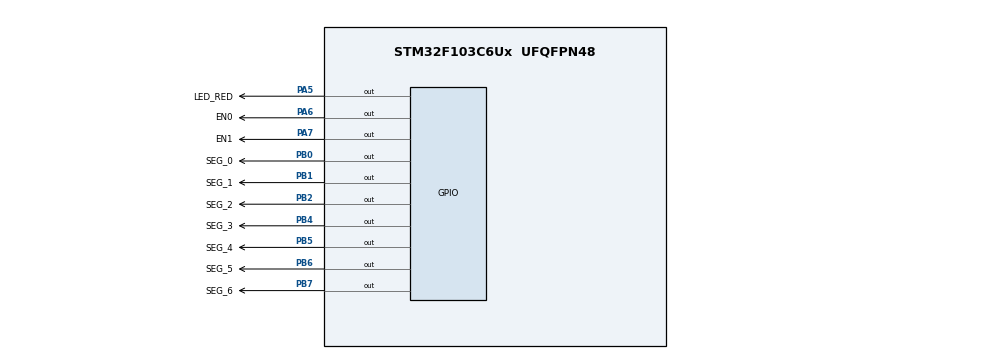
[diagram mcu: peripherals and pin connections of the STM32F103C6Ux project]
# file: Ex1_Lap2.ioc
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Mcu.Family=STM32F1
Mcu.Name=STM32F103C6Ux
Mcu.Package=UFQFPN48
NVIC.PriorityGroup=NVIC_PRIORITYGROUP_4
NVIC.TIM2_IRQn=true\:0\:0\:false\:false\:true\:true\:true
PA5.GPIO_Label=LED_RED
PA5.Signal=GPIO_Output
PA6.GPIO_Label=EN0
PA6.Signal=GPIO_Output
PA7.GPIO_Label=EN1
PA7.Signal=GPIO_Output
PB0.GPIO_Label=SEG_0
PB0.Signal=GPIO_Output
PB1.GPIO_Label=SEG_1
PB1.Signal=GPIO_Output
PB2.GPIO_Label=SEG_2
PB2.Signal=GPIO_Output
PB4.GPIO_Label=SEG_3
PB4.Signal=GPIO_Output
PB5.GPIO_Label=SEG_4
PB5.Signal=GPIO_Output
PB6.GPIO_Label=SEG_5
PB6.Signal=GPIO_Output
PB7.GPIO_Label=SEG_6
PB7.Signal=GPIO_Output
ProjectManager.HeapSize=0x200
ProjectManager.StackSize=0x400
ProjectManager.TargetToolchain=STM32CubeIDE
RCC.APB1Freq_Value=8000000
RCC.APB2Freq_Value=8000000
TIM2.Period=9
TIM2.Prescaler=7999
VP_SYS_VS_ND.Mode=No_Debug
VP_TIM2_VS_ClockSourceINT.Mode=Internal
board=custom

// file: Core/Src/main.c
/* USER CODE BEGIN Header */
/**
  ******************************************************************************
  * @file           : main.c
  * @brief          : Main program body
  ******************************************************************************
  * @attention
  *
  * <h2><center>&copy; Copyright (c) 2022 STMicroelectronics.
  * All rights reserved.</center></h2>
  *
  * This software component is licensed by ST under BSD 3-Clause license,
  * the "License"; You may not use this file except in compliance with the
  * License. You may obtain a copy of the License at:
  *                        opensource.org/licenses/BSD-3-Clause
  *
  ******************************************************************************
  */
/* USER CODE END Header */
#include "main.h"
#include "display7SEG.h"

TIM_HandleTypeDef htim2;

void SystemClock_Config(void);
static void MX_GPIO_Init(void);
static void MX_TIM2_Init(void);

int main(void)
{

  /* MCU Configuration--------------------------------------------------------*/

  /* Reset of all peripherals, Initializes the Flash interface and the Systick. */
  HAL_Init();

  /* Configure the system clock */
  SystemClock_Config();

  /* Initialize all configured peripherals */
  MX_GPIO_Init();
  MX_TIM2_Init();
  HAL_TIM_Base_Start_IT (& htim2 ) ;
  /* USER CODE END 2 */
  /* Infinite loop */
  while (1)
  {

  }
}

void SystemClock_Config(void)
{
  RCC_OscInitTypeDef RCC_OscInitStruct = {0};
  RCC_ClkInitTypeDef RCC_ClkInitStruct = {0};

  /** Initializes the RCC Oscillators according to the specified parameters
  * in the RCC_OscInitTypeDef structure.
  */
  RCC_OscInitStruct.OscillatorType = RCC_OSCILLATORTYPE_HSI;
  RCC_OscInitStruct.HSIState = RCC_HSI_ON;
  RCC_OscInitStruct.HSICalibrationValue = RCC_HSICALIBRATION_DEFAULT;
  RCC_OscInitStruct.PLL.PLLState = RCC_PLL_NONE;
  if (HAL_RCC_OscConfig(&RCC_OscInitStruct) != HAL_OK)
  {
    Error_Handler();
  }
  /** Initializes the CPU, AHB and APB buses clocks
  */
  RCC_ClkInitStruct.ClockType = RCC_CLOCKTYPE_HCLK|RCC_CLOCKTYPE_SYSCLK
                              |RCC_CLOCKTYPE_PCLK1|RCC_CLOCKTYPE_PCLK2;
  RCC_ClkInitStruct.SYSCLKSource = RCC_SYSCLKSOURCE_HSI;
  RCC_ClkInitStruct.AHBCLKDivider = RCC_SYSCLK_DIV1;
  RCC_ClkInitStruct.APB1CLKDivider = RCC_HCLK_DIV1;
  RCC_ClkInitStruct.APB2CLKDivider = RCC_HCLK_DIV1;

  if (HAL_RCC_ClockConfig(&RCC_ClkInitStruct, FLASH_LATENCY_0) != HAL_OK)
  {
    Error_Handler();
  }
}

static void MX_TIM2_Init(void)
{

  TIM_ClockConfigTypeDef sClockSourceConfig = {0};
  TIM_MasterConfigTypeDef sMasterConfig = {0};

  htim2.Instance = TIM2;
  htim2.Init.Prescaler = 7999;
  htim2.Init.CounterMode = TIM_COUNTERMODE_UP;
  htim2.Init.Period = 9;
  htim2.Init.ClockDivision = TIM_CLOCKDIVISION_DIV1;
  htim2.Init.AutoReloadPreload = TIM_AUTORELOAD_PRELOAD_DISABLE;
  if (HAL_TIM_Base_Init(&htim2) != HAL_OK)
  {
    Error_Handler();
  }
  sClockSourceConfig.ClockSource = TIM_CLOCKSOURCE_INTERNAL;
  if (HAL_TIM_ConfigClockSource(&htim2, &sClockSourceConfig) != HAL_OK)
  {
    Error_Handler();
  }
  sMasterConfig.MasterOutputTrigger = TIM_TRGO_RESET;
  sMasterConfig.MasterSlaveMode = TIM_MASTERSLAVEMODE_DISABLE;
  if (HAL_TIMEx_MasterConfigSynchronization(&htim2, &sMasterConfig) != HAL_OK)
  {
    Error_Handler();
  }

}

static void MX_GPIO_Init(void)
{
  GPIO_InitTypeDef GPIO_InitStruct = {0};

  /* GPIO Ports Clock Enable */
  __HAL_RCC_GPIOA_CLK_ENABLE();
  __HAL_RCC_GPIOB_CLK_ENABLE();

  /*Configure GPIO pin Output Level */
  HAL_GPIO_WritePin(LED_RED_GPIO_Port, LED_RED_Pin, GPIO_PIN_RESET);

  /*Configure GPIO pin Output Level */
  HAL_GPIO_WritePin(GPIOB, SEG_0_Pin|SEG_1_Pin|SEG_2_Pin|SEG_3_Pin
                          |SEG_4_Pin|SEG_5_Pin|SEG_6_Pin, GPIO_PIN_RESET);

  /*Configure GPIO pin : LED_RED_Pin */
  GPIO_InitStruct.Pin = LED_RED_Pin;
  GPIO_InitStruct.Mode = GPIO_MODE_OUTPUT_PP;
  GPIO_InitStruct.Pull = GPIO_NOPULL;
  GPIO_InitStruct.Speed = GPIO_SPEED_FREQ_LOW;
  HAL_GPIO_Init(LED_RED_GPIO_Port, &GPIO_InitStruct);

  /*Configure GPIO pins : SEG_0_Pin SEG_1_Pin SEG_2_Pin SEG_3_Pin
                           SEG_4_Pin SEG_5_Pin SEG_6_Pin */
  GPIO_InitStruct.Pin = SEG_0_Pin|SEG_1_Pin|SEG_2_Pin|SEG_3_Pin
                          |SEG_4_Pin|SEG_5_Pin|SEG_6_Pin;
  GPIO_InitStruct.Mode = GPIO_MODE_OUTPUT_PP;
  GPIO_InitStruct.Pull = GPIO_NOPULL;
  GPIO_InitStruct.Speed = GPIO_SPEED_FREQ_LOW;
  HAL_GPIO_Init(GPIOB, &GPIO_InitStruct);

}

/* USER CODE BEGIN 4 */
int led_status = 0;
int count = 50 ;
int num_led = 0;
void HAL_TIM_PeriodElapsedCallback (TIM_HandleTypeDef *htim){
   //EX1.

	count --;
  if(count <=0){
	  count = 50;
	  // den 1sang 2tat
	  if(led_status %2 == 0){
		  HAL_GPIO_WritePin(EN0_GPIO_Port, EN0_Pin, RESET);
		  HAL_GPIO_WritePin(EN1_GPIO_Port, EN1_Pin, SET);
		  HAL_GPIO_WritePin(LED_RED_GPIO_Port, LED_RED_Pin, 1);
		  display7SEG(num_led);
	  }
  	  // den 2sang tat
	  else {
		 HAL_GPIO_WritePin(EN0_GPIO_Port, EN0_Pin, SET);
		 HAL_GPIO_WritePin(EN1_GPIO_Port, EN1_Pin, RESET);
		 HAL_GPIO_WritePin(LED_RED_GPIO_Port, LED_RED_Pin, 1);
		 display7SEG(num_led);
	  }
	  led_status = 1 - led_status;
	  num_led ++;
	  if(num_led >= 9){
		  num_led = 0 ;
	  }
  }
/* USER CODE END 4 */
}
void Error_Handler(void)
{
  __disable_irq();
  while (1)
  {
  }
}

/************************ (C) COPYRIGHT STMicroelectronics *****END OF FILE****/
